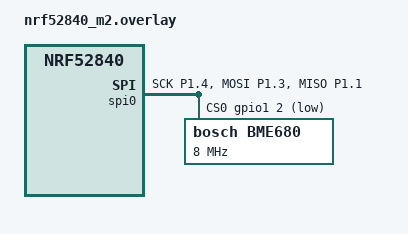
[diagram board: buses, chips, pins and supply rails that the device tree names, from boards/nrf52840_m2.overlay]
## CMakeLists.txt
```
#-------------------------------------------------------------------------------
# Zephyr Example Application
#
# Copyright (c) 2021 Nordic Semiconductor ASA
# SPDX-License-Identifier: Apache-2.0

cmake_minimum_required(VERSION 3.13.1)
find_package(Zephyr REQUIRED HINTS $ENV{ZEPHYR_BASE})

project(app LANGUAGES C)

target_sources(app PRIVATE src/main.c src/ess.c src/custom_ble_service.c src/flash_deep_sleep.c)
target_include_directories(app PRIVATE include)
```

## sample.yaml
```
# This file is provided so that the application can be compiled using Twister,
# the Zephyr testing tool. In this file, multiple combinations can be specified,
# so that you can easily test all of them locally or in CI.
sample:
  description: 
  name: enviromental-sensor
common:
  build_only: true
  integration_platforms:
    - nrf52840_m2
tests:
  app.default: {}
  app.minimal:
    extra_overlay_confs:
      - prj_minimal.conf
  # app.debug:
  #   extra_overlay_confs:
  #     - debug.conf
```

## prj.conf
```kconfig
CONFIG_SPI=y
CONFIG_SENSOR=y
CONFIG_FPU=y

# Settings/Flash configuration
CONFIG_SETTINGS=y
CONFIG_FLASH=y
CONFIG_FLASH_PAGE_LAYOUT=y
CONFIG_FLASH_MAP=y
CONFIG_STREAM_FLASH=y
CONFIG_NVS=y
CONFIG_SETTINGS_NVS=y

CONFIG_BME680=n
CONFIG_BME68X_BSEC=y
CONFIG_BME68X_BSEC_SAMPLE_RATE_LOW_POWER=y

# Bluetooth
CONFIG_BT=y
CONFIG_BT_SMP=y
CONFIG_BT_SIGNING=y
CONFIG_BT_PERIPHERAL=y
CONFIG_BT_DIS=y
CONFIG_BT_ATT_PREPARE_COUNT=5
CONFIG_BT_BAS=y
CONFIG_BT_PRIVACY=n
CONFIG_BT_DEVICE_NAME="Enviromentral Sensor"
CONFIG_BT_DIS_MANUF="1More3Labs"
CONFIG_BT_DIS_MODEL="EnvSensor"
CONFIG_BT_DIS_HW_REV=y
CONFIG_BT_DIS_HW_REV_STR="0"
CONFIG_BT_DIS_FW_REV=y
CONFIG_BT_DIS_FW_REV_STR="0.0.0"
CONFIG_BT_DEVICE_NAME_DYNAMIC=n
CONFIG_BT_GAP_AUTO_UPDATE_CONN_PARAMS=y
CONFIG_BT_GATT_NOTIFY_MULTIPLE=y
CONFIG_BT_GAP_PERIPHERAL_PREF_PARAMS=y
CONFIG_BT_PERIPHERAL_PREF_MIN_INT=800
CONFIG_BT_PERIPHERAL_PREF_MAX_INT=1000
CONFIG_BT_PERIPHERAL_PREF_TIMEOUT=251
CONFIG_BT_CTLR_PHY_2M=y
CONFIG_BT_AUTO_PHY_UPDATE=y
CONFIG_BT_MAX_CONN=2

# Logging
CONFIG_LOG=y
CONFIG_USE_SEGGER_RTT=y
CONFIG_RTT_CONSOLE=y
CONFIG_LOG_BACKEND_RTT=y
CONFIG_LOG_BACKEND_UART=n
CONFIG_CBPRINTF_FP_SUPPORT=y
CONFIG_UART_CONSOLE=n
CONFIG_LOG_BUFFER_SIZE=2048

# Power management
CONFIG_PM_DEVICE=y
CONFIG_RAM_POWER_DOWN_LIBRARY=y
CONFIG_PICOLIBC=y
CONFIG_COMMON_LIBC_MALLOC=n

# In order to correctly tune the stack sizes for the threads the following
# Configurations can enabled to print the current use:
# CONFIG_THREAD_NAME=y
# CONFIG_THREAD_ANALYZER=y
# CONFIG_THREAD_ANALYZER_AUTO=y
# CONFIG_THREAD_ANALYZER_RUN_UNLOCKED=y
# CONFIG_THREAD_ANALYZER_USE_PRINTK=y
# CONFIG_CONSOLE=y
# CONFIG_UART_CONSOLE=y
# CONFIG_SERIAL=y
# CONFIG_PRINTK=y

# DFU
#Enable MCUBOOT bootloader build in the application
# CONFIG_BOOTLOADER_MCUBOOT=y
#Include MCUMGR and the dependencies in the build
# CONFIG_NCS_SAMPLE_MCUMGR_BT_OTA_DFU=y
```

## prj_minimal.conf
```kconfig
# Drivers and peripherals

CONFIG_I2C=n
CONFIG_ADC=n
CONFIG_PWM=n
CONFIG_WATCHDOG=n
CONFIG_SERIAL=n
CONFIG_SPI=y
CONFIG_FPU=y
CONFIG_SENSOR=y
CONFIG_BME680=n
CONFIG_BME68X_BSEC=y
CONFIG_BME68X_BSEC_SAMPLE_RATE_LOW_POWER=y

CONFIG_CLOCK_CONTROL_NRF_K32SRC_RC=y
CONFIG_CLOCK_CONTROL_NRF_K32SRC_20PPM=y

# Settings/Flash configuration
CONFIG_SETTINGS=y
CONFIG_FLASH=y
CONFIG_FLASH_PAGE_LAYOUT=y
CONFIG_FLASH_MAP=y
CONFIG_STREAM_FLASH=y
CONFIG_NVS=y
CONFIG_SETTINGS_NVS=y


# Bluetooth
CONFIG_BT=y
CONFIG_BT_SMP=y
CONFIG_BT_SIGNING=y
CONFIG_BT_PERIPHERAL=y
CONFIG_BT_DIS=y
CONFIG_BT_ATT_PREPARE_COUNT=5
CONFIG_BT_BAS=y
CONFIG_BT_PRIVACY=n
CONFIG_BT_DEVICE_NAME="Enviromentral Sensor"
CONFIG_BT_DIS_MANUF="1More3Labs"
CONFIG_BT_DIS_MODEL="EnvSensor"
CONFIG_BT_DIS_HW_REV=y
CONFIG_BT_DIS_HW_REV_STR="0"
CONFIG_BT_DIS_FW_REV=y
CONFIG_BT_DIS_FW_REV_STR="0.0.0"
CONFIG_BT_DEVICE_NAME_DYNAMIC=n
CONFIG_BT_GAP_AUTO_UPDATE_CONN_PARAMS=y
# CONFIG_BT_GATT_NOTIFY_MULTIPLE=y
CONFIG_BT_GAP_PERIPHERAL_PREF_PARAMS=y
CONFIG_BT_PERIPHERAL_PREF_MIN_INT=800
CONFIG_BT_PERIPHERAL_PREF_MAX_INT=1000
CONFIG_BT_PERIPHERAL_PREF_TIMEOUT=251
CONFIG_BT_AUTO_PHY_UPDATE=y
CONFIG_BT_MAX_CONN=2

# Memory protection
CONFIG_THREAD_STACK_INFO=n
CONFIG_THREAD_CUSTOM_DATA=n

# Boot
CONFIG_BOOT_BANNER=n
CONFIG_BOOT_DELAY=0

# Logging/Console
CONFIG_SERIAL=n
CONFIG_LOG=n
CONFIG_CONSOLE=n
CONFIG_UART_CONSOLE=n
CONFIG_STDOUT_CONSOLE=n
CONFIG_PRINTK=n
CONFIG_EARLY_CONSOLE=n

# Interrupts
CONFIG_DYNAMIC_INTERRUPTS=n
CONFIG_IRQ_OFFLOAD=n

# Power management
CONFIG_PM_DEVICE=y
CONFIG_RAM_POWER_DOWN_LIBRARY=y

# Build
CONFIG_SIZE_OPTIMIZATIONS=y

# Disable features not needed
CONFIG_TIMESLICING=n
CONFIG_COMMON_LIBC_MALLOC=n
# CONFIG_CBPRINTF_NANO=y

CONFIG_ASSERT=n

# ARM
CONFIG_ARM_MPU=n

# In order to correctly tune the stack sizes for the threads the following
# Configurations can enabled to print the current use:
# CONFIG_THREAD_NAME=y
# CONFIG_THREAD_ANALYZER=y
# CONFIG_THREAD_ANALYZER_AUTO=y
# CONFIG_THREAD_ANALYZER_AUTO_INTERVAL=5
# CONFIG_THREAD_ANALYZER_RUN_UNLOCKED=y
# CONFIG_THREAD_ANALYZER_USE_PRINTK=y
# CONFIG_CONSOLE=y
# CONFIG_USE_SEGGER_RTT=y
# CONFIG_SERIAL=y
# CONFIG_PRINTK=y
# CONFIG_RTT_CONSOLE=y
# CONFIG_LOG=y
# CONFIG_LOG_MAX_LEVEL=1
# CONFIG_LOG_BACKEND_RTT=y
# CONFIG_CBPRINTF_COMPLETE=y


#
# Thread analyze:
#  BT CTLR ECDH        : STACK: unused 192 usage 712 / 904 (78 %); CPU: 0 %: Total CPU cycles used: 819
#  BT RX               : STACK: unused 912 usage 624 / 1536 (40 %); CPU: 0 %: Total CPU cycles used: 141
#  BT TX               : STACK: unused 976 usage 560 / 1536 (36 %); CPU: 0 %: Total CPU cycles used: 382
#  thread_analyzer     : STACK: unused 584 usage 440 / 1024 (42 %); CPU: 0 %: Total CPU cycles used: 1204
#  0x200025b8          : STACK: unused 256 usage 1024 / 1280 (80 %); CPU: 0 %: Total CPU cycles used: 1480
#  sysworkq            : STACK: unused 1840 usage 208 / 2048 (10 %); CPU: 0 %: Total CPU cycles used: 222
#  MPSL Work           : STACK: unused 524 usage 500 / 1024 (48 %); CPU: 0 %: Total CPU cycles used: 676
#  logging             : STACK: unused 152 usage 616 / 768 (80 %); CPU: 0 %: Total CPU cycles used: 1938
#  idle                : STACK: unused 256 usage 64 / 320 (20 %); CPU: 99 %: Total CPU cycles used: 2616649
#  ISR0                : STACK: unused 1544 usage 504 / 2048 (24 %)
CONFIG_BME68X_BSEC_THREAD_STACK_SIZE=1280
CONFIG_BT_RX_STACK_SIZE=1024
CONFIG_BT_HCI_TX_STACK_SIZE_WITH_PROMPT=y
CONFIG_BT_HCI_TX_STACK_SIZE=640
CONFIG_SYSTEM_WORKQUEUE_STACK_SIZE=512
CONFIG_MPSL_WORK_STACK_SIZE=640
CONFIG_IDLE_STACK_SIZE=128
CONFIG_ISR_STACK_SIZE=1024

# Disable Bluetooth features not needed
CONFIG_BT_DEBUG_NONE=y
CONFIG_BT_ASSERT=n
CONFIG_BT_DATA_LEN_UPDATE=n
CONFIG_BT_EXT_ADV=n
CONFIG_BT_CTLR_PHY_CODED=n
# CONFIG_BT_GATT_CACHING=n
CONFIG_BT_GATT_SERVICE_CHANGED=n
# CONFIG_BT_SETTINGS=y
# CONFIG_BT_SETTINGS_CCC_LAZY_LOADING=y

# Reduce Bluetooth buffers
CONFIG_BT_BUF_EVT_DISCARDABLE_COUNT=1
CONFIG_BT_BUF_EVT_DISCARDABLE_SIZE=43
CONFIG_BT_BUF_EVT_RX_COUNT=2

CONFIG_BT_CONN_TX_MAX=2
CONFIG_BT_L2CAP_TX_BUF_COUNT=2
CONFIG_BT_BUF_ACL_TX_COUNT=3
CONFIG_BT_BUF_ACL_TX_SIZE=27
```

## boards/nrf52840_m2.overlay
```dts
&pinctrl {
    spi0_default: spi0_default {
        group1 {
            psels = <NRF_PSEL(SPIM_SCK, 1, 4)>,
                    <NRF_PSEL(SPIM_MOSI, 1, 3)>,
                    <NRF_PSEL(SPIM_MISO, 1, 1)>;
        };
    };

    spi0_sleep: spi0_sleep {
        group1 {
            psels = <NRF_PSEL(SPIM_SCK, 1, 4)>,
                    <NRF_PSEL(SPIM_MOSI, 1, 3)>,
                    <NRF_PSEL(SPIM_MISO, 1, 1)>;
        };
    };
};



&spi0 {
    compatible = "nordic,nrf-spi";
    status = "okay";
    pinctrl-0 = <&spi0_default>;
    pinctrl-1 = <&spi0_sleep>;
    pinctrl-names = "default", "sleep";
};

&spi0 {
    status = "okay";

    cs-gpios = <&gpio1 2 GPIO_ACTIVE_LOW> /*<&gpio0 25 GPIO_ACTIVE_LOW>*/;

    bme680: bme680@0 {
        compatible = "bosch,bme680";
        reg = <0x0>;
        spi-max-frequency = <8000000>;
    };

    // bmp388: bmp388@1 {
        //     compatible = "bosch,bmp388";
        //     reg = <0x1>;
        //     spi-max-frequency = <8000000>;
        //     status = "okay";
    // };
};

&adc {
    status = "disabled";
};

&usbd {
    status = "disabled";
};

&pwm0 {
    status = "disabled";
};

&i2c0 {
    status = "disabled";
};

&i2c1 {
    status = "disabled";
};

&spi1 {
    status = "disabled";
};

&spi2 {
    status = "disabled";
};

// &qspi {
//     status = "disabled";
// };
```

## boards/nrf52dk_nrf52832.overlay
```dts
&pinctrl {
    spi0_default: spi0_default {
        group1 {
            psels = <NRF_PSEL(SPIM_SCK, 0, 24)>,
                    <NRF_PSEL(SPIM_MOSI, 0, 23)>,
                    <NRF_PSEL(SPIM_MISO, 0, 20)>;
        };
    };

    spi0_sleep: spi0_sleep {
        group1 {
            psels = <NRF_PSEL(SPIM_SCK, 0, 24)>,
                    <NRF_PSEL(SPIM_MOSI, 0, 23)>,
                    <NRF_PSEL(SPIM_MISO, 0, 20)>;
            low-power-enable;
        };
    };
};

&i2c0 {
    status = "disabled";
};

&spi2 {
    status = "disabled";
};

&spi0 {
    compatible = "nordic,nrf-spi";
    status = "okay";
    pinctrl-0 = <&spi0_default>;
    pinctrl-1 = <&spi0_sleep>;
    pinctrl-names = "default", "sleep";
};

&spi0 {
    status = "okay";

    cs-gpios = <&gpio0 22 GPIO_ACTIVE_LOW> /*<&gpio0 25 GPIO_ACTIVE_LOW>*/;

    bme680: bme680@0 {
        compatible = "bosch,bme680";
        reg = <0x0>;
        spi-max-frequency = <8000000>;
    };

    // bmp388: bmp388@1 {
    //     compatible = "bosch,bmp388";
    //     reg = <0x1>;
    //     spi-max-frequency = <8000000>;
    //     status = "okay";
    // };
};
```

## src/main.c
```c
/**
 * @file main.c
 * @author Stavros Avramidis (stavros9899@gmail.com)
 * @copyright Copyright (c) 2024
 */

#include <zephyr/device.h>
#include <zephyr/drivers/sensor.h>
#include <zephyr/kernel.h>

#include <zephyr/bluetooth/bluetooth.h>
#include <zephyr/bluetooth/conn.h>
#include <zephyr/bluetooth/gatt.h>
#include <zephyr/bluetooth/hci.h>
#include <zephyr/bluetooth/services/bas.h>
#include <zephyr/bluetooth/uuid.h>

#include <ram_pwrdn.h>

#include <drivers/bme68x_bsec.h>

#include "custom_ble_service.h"
#include "ess.h"

#include <zephyr/logging/log.h>
LOG_MODULE_REGISTER(main);

static const struct device* const bme680_dev = DEVICE_DT_GET_ONE(bosch_bme680);

#define ADV_PARAM BT_LE_ADV_PARAM(BT_LE_ADV_OPT_CONNECTABLE | BT_LE_ADV_OPT_USE_NAME, \
    BT_GAP_ADV_SLOW_INT_MIN * 3,                                                      \
    BT_GAP_ADV_SLOW_INT_MAX * 3,                                                      \
    NULL)

static const struct bt_data ad[] = {
    BT_DATA_BYTES(BT_DATA_FLAGS, (BT_LE_AD_GENERAL | BT_LE_AD_NO_BREDR)),
    BT_DATA_BYTES(BT_DATA_UUID16_ALL,
        // BT_UUID_16_ENCODE(BT_UUID_DIS_VAL),
        BT_UUID_16_ENCODE(BT_UUID_ESS_VAL), ),
    BT_DATA_BYTES(BT_DATA_UUID128_ALL, BT_UUID_CUSTOM_SERVICE_VAL),
};

static void connected(struct bt_conn* conn, uint8_t err)
{
    if (err) {
        LOG_ERR("Connection failed (err 0x%02x)\n", err);
    } else {
        LOG_INF("Connected\n");
    }
}

static void disconnected(struct bt_conn* conn, uint8_t reason)
{
    LOG_INF("Disconnected (reason 0x%02x)\n", reason);
}

BT_CONN_CB_DEFINE(conn_callbacks) = {
    .connected = connected,
    .disconnected = disconnected,
};

static void bt_ready(void)
{
    int err;

    LOG_INF("Bluetooth initialized\n");
    // BT_LE_ADV_CONN_NAME
    err = bt_le_adv_start(ADV_PARAM, ad, ARRAY_SIZE(ad), NULL, 0);
    if (err) {
        LOG_ERR("Advertising failed to start (err %d)\n", err);
        return;
    }

    LOG_INF("Advertising successfully started\n");
}

static void auth_cancel(struct bt_conn* conn)
{
    char addr[BT_ADDR_LE_STR_LEN];

    bt_addr_le_to_str(bt_conn_get_dst(conn), addr, sizeof(addr));

    LOG_INF("Pairing cancelled: %s\n", addr);
}

static const struct bt_conn_auth_cb auth_cb_display = {
    .cancel = auth_cancel,
};

static const struct sensor_trigger sensor_trig = {
    .chan = SENSOR_CHAN_ALL,
    .type = SENSOR_TRIG_DATA_READY,
};

static void trigger_handler(const struct device* dev, const struct sensor_trigger* trig)
{
    ARG_UNUSED(trig);

    // This read is unlocked, should be relatilely safe to do.
    const struct bme_sample_result measurements = *(struct bme_sample_result*)dev->data;

    ess_set_temperature(measurements.temperature);
    ess_set_humidity(measurements.humidity);
    ess_set_pressure(measurements.pressure);

    custom_ble_set_data(&measurements);

    // LOG_INF(" %llu %.2f %.2f %.2f %.2f %.2f %d",
    //     measurements.timestamp,
    //     measurements.temperature,
    //     measurements.humidity,
    //     measurements.pressure,
    //     measurements.breathVocEquivalent,
    //     measurements.co2Equivalent,
    //     measurements.iaq);
}

int main(void)
{
    int err;
    // Initalize sensors
    if (!device_is_ready(bme680_dev)) {
        LOG_ERR("bme680_dev: device not ready.");
        return 0;
    }

    if (sensor_trigger_set(bme680_dev, &sensor_trig, trigger_handler)) {
        LOG_ERR("Cannot configure trigger.");
        return 0;
    }

    // Initialize bluetooth
    err = bt_enable(NULL);
    if (err) {
        LOG_ERR("Bluetooth init failed (err %d)\n", err);
        return 0;
    }

    bt_ready();
    bt_conn_auth_cb_register(&auth_cb_display);

    if (IS_ENABLED(CONFIG_RAM_POWER_DOWN_LIBRARY)) {
        power_down_unused_ram();
    }

    return 0;
}
```

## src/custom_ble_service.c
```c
/**
 * @file custom_ble_service.c
 * @author Stavros Avramidis (stavros9899@gmail.com)
 * @copyright Copyright (c) 2024
 */

#include "custom_ble_service.h"

#include <zephyr/init.h>
#include <zephyr/sys/byteorder.h>

#include <zephyr/bluetooth/conn.h>
#include <zephyr/bluetooth/gatt.h>
#include <zephyr/bluetooth/uuid.h>

#define LOG_LEVEL CONFIG_BT_ESS_LOG_LEVEL
#include <zephyr/logging/log.h>
LOG_MODULE_REGISTER(custom_ble_service);

struct custom_ble_service_adv_data custom_service_data = {};

static inline uint16_t float_to_fixed_16(const float input, const uint8_t fractional_bits)
{
    return (uint16_t)(input * (1 << fractional_bits));
}

static void data_ccc_cfg_changed(const struct bt_gatt_attr* attr, uint16_t value)
{
    ARG_UNUSED(attr);
    LOG_INF("Data CCCD cfg changed %04x", value);
}

static int read_data(struct bt_conn* conn, const struct bt_gatt_attr* attr,
    void* buf, uint16_t len, uint16_t offset)
{
    const struct custom_ble_service_adv_data* value = attr->user_data;

    return bt_gatt_attr_read(conn, attr, buf, len, offset, value, sizeof(*value));
}

BT_GATT_SERVICE_DEFINE(
    custom_ble_service,
    BT_GATT_PRIMARY_SERVICE(BT_UUID_CUSTOM_SERVICE),

    BT_GATT_CHARACTERISTIC(BT_UUID_CUSTOM_CHRC,
        BT_GATT_CHRC_READ | BT_GATT_CHRC_NOTIFY,
        BT_GATT_PERM_READ,
        read_data, NULL, &custom_service_data),
    BT_GATT_CCC(data_ccc_cfg_changed,
        BT_GATT_PERM_READ | BT_GATT_PERM_WRITE), );

static int custom_ble_service_init(void)
{
    return 0;
}

int custom_ble_set_data(const struct bme_sample_result* measurements)
{
    custom_service_data.temperature = sys_cpu_to_le16(measurements->temperature * 100);

    custom_service_data.humidity = sys_cpu_to_le16(measurements->humidity * 100);
    custom_service_data.pressure = sys_cpu_to_le24(measurements->pressure * 10);

    custom_service_data.iaq = measurements->iaq;
    custom_service_data.iaq_accuracy = measurements->iaqAccuracy;
    custom_service_data.co2_accuracy = measurements->co2Accuracy;
    custom_service_data.breath_voc_accuracy = measurements->breathVocAccuracy;
    custom_service_data.stab_status = measurements->stabStatus;
    custom_service_data.co2_equivalent = sys_cpu_to_le16(float_to_fixed_16(measurements->co2Equivalent, 4));
    custom_service_data.voc = float_to_fixed_16(measurements->breathVocEquivalent, 4);

    return bt_gatt_notify(NULL, &custom_ble_service.attrs[1], &custom_service_data, sizeof(custom_service_data));
};

SYS_INIT(custom_ble_service_init, APPLICATION, CONFIG_APPLICATION_INIT_PRIORITY);
```

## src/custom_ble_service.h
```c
/**
 * @file custom_ble_service.h
 * @author Stavros Avramidis (stavros9899@gmail.com)
 * @copyright Copyright (c) 2024
 */


#pragma once

#include <zephyr/bluetooth/uuid.h>

#include <drivers/bme68x_bsec.h>

#ifdef __cplusplus
extern "C" {
#endif

// 355545c8-c32a-44c5-979d-33a5e643d800
// 355545c8-c32a-44c5-979d-33a5e643d801

#define BT_UUID_CUSTOM_SERVICE_VAL BT_UUID_128_ENCODE(0x355545c8, 0xc32a, 0x44c5, 0x979d, 0x33a5e643d800)
#define BT_UUID_CUSTOM_CHRC_VAL BT_UUID_128_ENCODE(0x355545c8, 0xc32a, 0x44c5, 0x979d, 0x33a5e643d801)

#define BT_UUID_CUSTOM_SERVICE BT_UUID_DECLARE_128(BT_UUID_CUSTOM_SERVICE_VAL)
#define BT_UUID_CUSTOM_CHRC BT_UUID_DECLARE_128(BT_UUID_CUSTOM_CHRC_VAL)


struct custom_ble_service_adv_data {
    int16_t temperature;
    uint16_t humidity;

    uint32_t pressure : 24;

    uint16_t iaq : 10;
    uint16_t iaq_accuracy : 2;
    uint16_t co2_accuracy : 2;
    uint16_t breath_voc_accuracy : 2;

    uint16_t co2_equivalent;

    uint16_t voc : 14;
    uint16_t stab_status : 1;
    uint16_t reserved: 1;
} __attribute__((packed));


int custom_ble_set_data(const struct bme_sample_result* measurements);


#ifdef __cplusplus
}
#endif
```

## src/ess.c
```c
/**
 * @file ess.c
 * @author Stavros Avramidis (stavros9899@gmail.com)
 * @copyright Copyright (c) 2024
 */

#include "ess.h"

#include <zephyr/init.h>
#include <zephyr/sys/byteorder.h>

#include <zephyr/bluetooth/conn.h>
#include <zephyr/bluetooth/gatt.h>
#include <zephyr/bluetooth/uuid.h>

#define LOG_LEVEL CONFIG_BT_ESS_LOG_LEVEL
#include <zephyr/logging/log.h>
LOG_MODULE_REGISTER(ess);

static uint16_t temperature = 0; // Units in 0.01°C
static uint16_t humidity = 0; // Units in 0.01%RH
static uint32_t pressure = 0; // Units in 0.1Pa

static void temp_ccc_cfg_changed(const struct bt_gatt_attr* attr, uint16_t value)
{
    ARG_UNUSED(attr);
    LOG_INF("Temperature CCCD cfg changed %04x", value);
}

static void hum_ccc_cfg_changed(const struct bt_gatt_attr* attr, uint16_t value)
{
    ARG_UNUSED(attr);
    LOG_INF("Humidity CCCD cfg changed %04x", value);
}

static void press_ccc_cfg_changed(const struct bt_gatt_attr* attr, uint16_t value)
{
    ARG_UNUSED(attr);
    LOG_INF("Pressure CCCD cfg changed %04x", value);
}

static ssize_t read_u16(struct bt_conn* conn, const struct bt_gatt_attr* attr,
    void* buf, uint16_t len, uint16_t offset)
{
    const uint16_t* u16 = attr->user_data;
    uint16_t value = sys_cpu_to_le16(*u16);

    return bt_gatt_attr_read(conn, attr, buf, len, offset, &value,
        sizeof(value));
}

static ssize_t read_u32(struct bt_conn* conn, const struct bt_gatt_attr* attr,
    void* buf, uint16_t len, uint16_t offset)
{
    const uint32_t* u32 = attr->user_data;
    uint32_t value = sys_cpu_to_le32(*u32);

    return bt_gatt_attr_read(conn, attr, buf, len, offset, &value,
        sizeof(value));
}

BT_GATT_SERVICE_DEFINE(
    ess,
    BT_GATT_PRIMARY_SERVICE(BT_UUID_ESS),

    BT_GATT_CHARACTERISTIC(BT_UUID_TEMPERATURE,
        BT_GATT_CHRC_READ | BT_GATT_CHRC_NOTIFY,
        BT_GATT_PERM_READ,
        read_u16, NULL, &temperature),
    BT_GATT_CCC(temp_ccc_cfg_changed,
        BT_GATT_PERM_READ | BT_GATT_PERM_WRITE),

    BT_GATT_CHARACTERISTIC(BT_UUID_HUMIDITY,
        BT_GATT_CHRC_READ | BT_GATT_CHRC_NOTIFY,
        BT_GATT_PERM_READ,
        read_u16, NULL, &humidity),
    BT_GATT_CCC(hum_ccc_cfg_changed,
        BT_GATT_PERM_READ | BT_GATT_PERM_WRITE),

    BT_GATT_CHARACTERISTIC(BT_UUID_PRESSURE,
        BT_GATT_CHRC_READ | BT_GATT_CHRC_NOTIFY,
        BT_GATT_PERM_READ,
        read_u32, NULL, &pressure),
    BT_GATT_CCC(press_ccc_cfg_changed,
        BT_GATT_PERM_READ | BT_GATT_PERM_WRITE), );

static int ess_init(void)
{
    return 0;
}

int ess_set_temperature(const float temp)
{
    temperature = temp * 100;
    return bt_gatt_notify(NULL, &ess.attrs[1], &temperature, sizeof(temperature));
}

int ess_set_humidity(const float hum)
{
    humidity = hum * 100;
    return bt_gatt_notify(NULL, &ess.attrs[4], &humidity, sizeof(humidity));
}

int ess_set_pressure(const float press)
{
    pressure = press * 10;
    return bt_gatt_notify(NULL, &ess.attrs[7], &pressure, sizeof(pressure));
}

SYS_INIT(ess_init, APPLICATION, CONFIG_APPLICATION_INIT_PRIORITY);
```

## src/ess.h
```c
/**
 * @file ess.h
 * @author Stavros Avramidis (stavros9899@gmail.com)
 * @copyright Copyright (c) 2024
 */

#pragma once

#ifdef __cplusplus
extern "C" {
#endif

int ess_set_temperature(const float temp);

int ess_set_humidity(const float hum);

int ess_set_pressure(const float press);

#ifdef __cplusplus
}
#endif
```

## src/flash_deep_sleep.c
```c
/**
 * @file flash_deep_sleep.c
 * @author Stavros Avramidis (stavros9899@gmail.com)
 * @brief Sets Deep Sleep state in the external flash of the nrf52840 m2, to reduce power.
 * @copyright Copyright (c) 2024
 */

#if CONFIG_BOARD_NRF52840_M2

#include <zephyr/device.h>
#include <zephyr/devicetree.h>
#include <zephyr/drivers/flash.h>
#include <zephyr/kernel.h>
#include <zephyr/pm/device.h>

static int flash_deep_sleep_enter(void)
{
    static const struct device* flash_dev = DEVICE_DT_GET(DT_ALIAS(spi_flash0));

    return pm_device_action_run(flash_dev, PM_DEVICE_ACTION_SUSPEND);
}

SYS_INIT(flash_deep_sleep_enter, APPLICATION, CONFIG_APPLICATION_INIT_PRIORITY);

#endif // CONFIG_BOARD_NRF52840_M2
```
